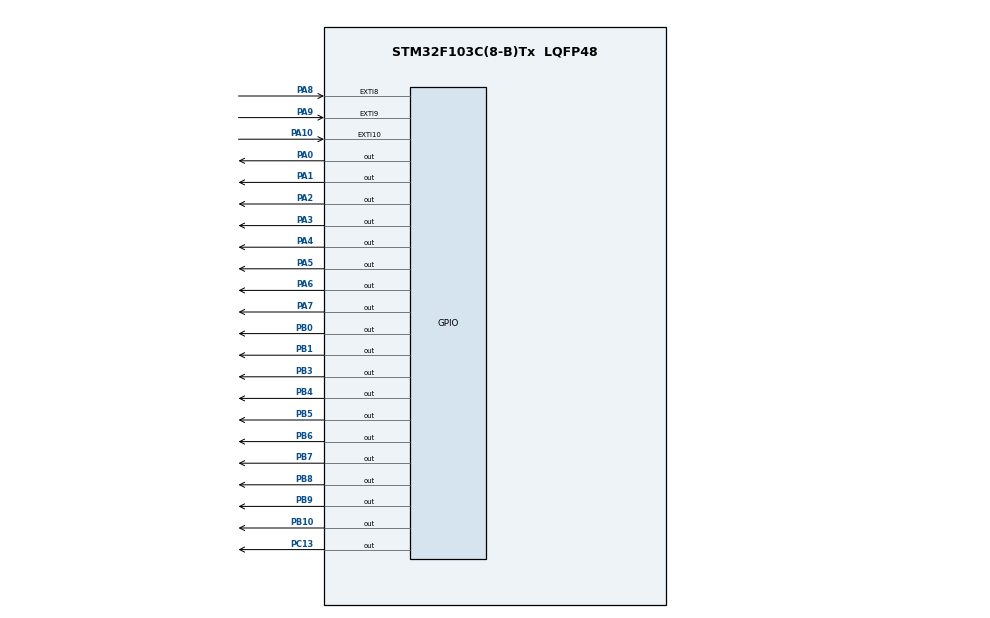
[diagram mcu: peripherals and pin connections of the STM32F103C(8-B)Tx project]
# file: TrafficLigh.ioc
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Mcu.Family=STM32F1
Mcu.Name=STM32F103C(8-B)Tx
Mcu.Package=LQFP48
NVIC.EXTI15_10_IRQn=true\:0\:0\:false\:false\:true\:true\:true\:true
NVIC.EXTI9_5_IRQn=true\:0\:0\:false\:false\:true\:true\:true\:true
NVIC.PriorityGroup=NVIC_PRIORITYGROUP_4
NVIC.TIM1_UP_IRQn=true\:0\:0\:false\:false\:true\:true\:true\:true
PA0-WKUP.Signal=GPIO_Output
PA1.Signal=GPIO_Output
PA10.GPIO_PuPd=GPIO_PULLUP
PA10.Signal=GPXTI10
PA13.Mode=Serial_Wire
PA13.Signal=SYS_JTMS-SWDIO
PA14.Mode=Serial_Wire
PA14.Signal=SYS_JTCK-SWCLK
PA2.Signal=GPIO_Output
PA3.Signal=GPIO_Output
PA4.Signal=GPIO_Output
PA5.Signal=GPIO_Output
PA6.Signal=GPIO_Output
PA7.Signal=GPIO_Output
PA8.GPIO_PuPd=GPIO_PULLUP
PA8.Signal=GPXTI8
PA9.GPIO_PuPd=GPIO_PULLUP
PA9.Signal=GPXTI9
PB0.Signal=GPIO_Output
PB1.Signal=GPIO_Output
PB10.Signal=GPIO_Output
PB3.Signal=GPIO_Output
PB4.Signal=GPIO_Output
PB5.Signal=GPIO_Output
PB6.Signal=GPIO_Output
PB7.Signal=GPIO_Output
PB8.Signal=GPIO_Output
PB9.Signal=GPIO_Output
PC13-TAMPER-RTC.Signal=GPIO_Output
ProjectManager.HeapSize=0x200
ProjectManager.StackSize=0x400
ProjectManager.TargetToolchain=MDK-ARM V5.32
RCC.APB1Freq_Value=8000000
RCC.APB2Freq_Value=8000000
TIM1.Period=100
TIM1.Prescaler=8000-1
VP_TIM1_VS_ClockSourceINT.Mode=Internal
board=custom

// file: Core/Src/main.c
/* USER CODE BEGIN Header */
/**
  ******************************************************************************
  * @file           : main.c
  * @brief          : Main program body
  ******************************************************************************
  * @attention
  *
  * Copyright (c) 2024 STMicroelectronics.
  * All rights reserved.
  *
  * This software is licensed under terms that can be found in the LICENSE file
  * in the root directory of this software component.
  * If no LICENSE file comes with this software, it is provided AS-IS.
  *
  ******************************************************************************
  */
/* USER CODE END Header */
#include "main.h"

/* USER CODE BEGIN Includes */
#include "Segment.h"
#include "TrafficLight.h"

/* USER CODE END Includes */

TIM_HandleTypeDef htim1;

/* USER CODE BEGIN PV */
unsigned int systemTimer1s,systemTimer100ms;
unsigned int userMode;
/* USER CODE END PV */

void SystemClock_Config(void);
static void MX_GPIO_Init(void);
static void MX_TIM1_Init(void);

/* USER CODE BEGIN 0 */
void HAL_TIM_PeriodElapsedCallback(TIM_HandleTypeDef *htim)
{
  systemTimer100ms++;
  if (userMode == USER_MODE_ADJUST)
  {

  }
  else
  {
    if ((systemTimer100ms%10) == 0)
    {
      systemTimer1s++;
    }
  }
}

int GetSystemTimer100ms(void)
{
  return systemTimer100ms;
}
int GetSystemTimer1s(void)
{
  return systemTimer1s;
}
void SetSystemTimer(int setValue)
{
  systemTimer1s = setValue;
}
void ReSetSystemTimer()
{
  systemTimer100ms = 0;
  systemTimer1s = 0;
}
void HAL_GPIO_EXTI_Callback(uint16_t GPIO_Pin)
{
    switch (GPIO_Pin)
    {
    case GPIO_PIN_8:
        SetKey(KEY_DOWN);
    break;
    case GPIO_PIN_9:
        SetKey(KEY_UP);
    break;
    case GPIO_PIN_10:
        SetKey(KEY_MODE);
    break;
    default:
    break;
    }
}

void mainInit()
{
  systemTimer100ms = 0;
  userMode = USER_MODE_NORMAL;
}

void SetUserMode(int mode)
{
  userMode = mode;
}

int GetUserMode(void)
{
  return  userMode;
}

void UserModeManager()
{
  switch (userMode)
  {
    case USER_MODE_NORMAL:

    break;

    default:
    break;
  };
}
/* USER CODE END 0 */

int main(void)
{

  /* MCU Configuration--------------------------------------------------------*/

  /* Reset of all peripherals, Initializes the Flash interface and the Systick. */
  HAL_Init();

  /* USER CODE BEGIN Init */
  SegmentInit();
  TrafficLightInit();

  /* USER CODE END Init */

  /* Configure the system clock */
  SystemClock_Config();

  /* Initialize all configured peripherals */
  MX_GPIO_Init();
  MX_TIM1_Init();
  /* USER CODE BEGIN 2 */
  HAL_TIM_Base_Start_IT(&htim1);
  /* USER CODE END 2 */

  /* Infinite loop */
  /* USER CODE BEGIN WHILE */
  while (1)
  {
#if defined(TEST_MODE)
    ButtonTest();
    TrafficLightManager();
    // SegmentTest();
    // TrafficLightTest();
#else
    KeyManager();
    TrafficLightManager();
    SegmentManager();
#endif
    /* USER CODE END WHILE */

  }
}

void SystemClock_Config(void)
{
  RCC_OscInitTypeDef RCC_OscInitStruct = {0};
  RCC_ClkInitTypeDef RCC_ClkInitStruct = {0};

  /** Initializes the RCC Oscillators according to the specified parameters
  * in the RCC_OscInitTypeDef structure.
  */
  RCC_OscInitStruct.OscillatorType = RCC_OSCILLATORTYPE_HSI;
  RCC_OscInitStruct.HSIState = RCC_HSI_ON;
  RCC_OscInitStruct.HSICalibrationValue = RCC_HSICALIBRATION_DEFAULT;
  RCC_OscInitStruct.PLL.PLLState = RCC_PLL_NONE;
  if (HAL_RCC_OscConfig(&RCC_OscInitStruct) != HAL_OK)
  {
    Error_Handler();
  }

  /** Initializes the CPU, AHB and APB buses clocks
  */
  RCC_ClkInitStruct.ClockType = RCC_CLOCKTYPE_HCLK|RCC_CLOCKTYPE_SYSCLK
                              |RCC_CLOCKTYPE_PCLK1|RCC_CLOCKTYPE_PCLK2;
  RCC_ClkInitStruct.SYSCLKSource = RCC_SYSCLKSOURCE_HSI;
  RCC_ClkInitStruct.AHBCLKDivider = RCC_SYSCLK_DIV1;
  RCC_ClkInitStruct.APB1CLKDivider = RCC_HCLK_DIV1;
  RCC_ClkInitStruct.APB2CLKDivider = RCC_HCLK_DIV1;

  if (HAL_RCC_ClockConfig(&RCC_ClkInitStruct, FLASH_LATENCY_0) != HAL_OK)
  {
    Error_Handler();
  }
}

static void MX_TIM1_Init(void)
{

  TIM_ClockConfigTypeDef sClockSourceConfig = {0};
  TIM_MasterConfigTypeDef sMasterConfig = {0};

  htim1.Instance = TIM1;
  htim1.Init.Prescaler = 8000-1;
  htim1.Init.CounterMode = TIM_COUNTERMODE_UP;
  htim1.Init.Period = 100;
  htim1.Init.ClockDivision = TIM_CLOCKDIVISION_DIV1;
  htim1.Init.RepetitionCounter = 0;
  htim1.Init.AutoReloadPreload = TIM_AUTORELOAD_PRELOAD_DISABLE;
  if (HAL_TIM_Base_Init(&htim1) != HAL_OK)
  {
    Error_Handler();
  }
  sClockSourceConfig.ClockSource = TIM_CLOCKSOURCE_INTERNAL;
  if (HAL_TIM_ConfigClockSource(&htim1, &sClockSourceConfig) != HAL_OK)
  {
    Error_Handler();
  }
  sMasterConfig.MasterOutputTrigger = TIM_TRGO_RESET;
  sMasterConfig.MasterSlaveMode = TIM_MASTERSLAVEMODE_DISABLE;
  if (HAL_TIMEx_MasterConfigSynchronization(&htim1, &sMasterConfig) != HAL_OK)
  {
    Error_Handler();
  }

}

static void MX_GPIO_Init(void)
{
  GPIO_InitTypeDef GPIO_InitStruct = {0};

  /* GPIO Ports Clock Enable */
  __HAL_RCC_GPIOC_CLK_ENABLE();
  __HAL_RCC_GPIOA_CLK_ENABLE();
  __HAL_RCC_GPIOB_CLK_ENABLE();

  /*Configure GPIO pin Output Level */
  HAL_GPIO_WritePin(GPIOC, GPIO_PIN_13, GPIO_PIN_RESET);

  /*Configure GPIO pin Output Level */
  HAL_GPIO_WritePin(GPIOA, GPIO_PIN_0|GPIO_PIN_1|GPIO_PIN_2|GPIO_PIN_3
                          |GPIO_PIN_4|GPIO_PIN_5|GPIO_PIN_6|GPIO_PIN_7, GPIO_PIN_RESET);

  /*Configure GPIO pin Output Level */
  HAL_GPIO_WritePin(GPIOB, GPIO_PIN_0|GPIO_PIN_1|GPIO_PIN_10|GPIO_PIN_3
                          |GPIO_PIN_4|GPIO_PIN_5|GPIO_PIN_6|GPIO_PIN_7
                          |GPIO_PIN_8|GPIO_PIN_9, GPIO_PIN_RESET);

  /*Configure GPIO pin : PC13 */
  GPIO_InitStruct.Pin = GPIO_PIN_13;
  GPIO_InitStruct.Mode = GPIO_MODE_OUTPUT_PP;
  GPIO_InitStruct.Pull = GPIO_NOPULL;
  GPIO_InitStruct.Speed = GPIO_SPEED_FREQ_LOW;
  HAL_GPIO_Init(GPIOC, &GPIO_InitStruct);

  /*Configure GPIO pins : PA0 PA1 PA2 PA3
                           PA4 PA5 PA6 PA7 */
  GPIO_InitStruct.Pin = GPIO_PIN_0|GPIO_PIN_1|GPIO_PIN_2|GPIO_PIN_3
                          |GPIO_PIN_4|GPIO_PIN_5|GPIO_PIN_6|GPIO_PIN_7;
  GPIO_InitStruct.Mode = GPIO_MODE_OUTPUT_PP;
  GPIO_InitStruct.Pull = GPIO_NOPULL;
  GPIO_InitStruct.Speed = GPIO_SPEED_FREQ_LOW;
  HAL_GPIO_Init(GPIOA, &GPIO_InitStruct);

  /*Configure GPIO pins : PB0 PB1 PB10 PB3
                           PB4 PB5 PB6 PB7
                           PB8 PB9 */
  GPIO_InitStruct.Pin = GPIO_PIN_0|GPIO_PIN_1|GPIO_PIN_10|GPIO_PIN_3
                          |GPIO_PIN_4|GPIO_PIN_5|GPIO_PIN_6|GPIO_PIN_7
                          |GPIO_PIN_8|GPIO_PIN_9;
  GPIO_InitStruct.Mode = GPIO_MODE_OUTPUT_PP;
  GPIO_InitStruct.Pull = GPIO_NOPULL;
  GPIO_InitStruct.Speed = GPIO_SPEED_FREQ_LOW;
  HAL_GPIO_Init(GPIOB, &GPIO_InitStruct);

  /*Configure GPIO pins : PA8 PA9 PA10 */
  GPIO_InitStruct.Pin = GPIO_PIN_8|GPIO_PIN_9|GPIO_PIN_10;
  GPIO_InitStruct.Mode = GPIO_MODE_IT_RISING;
  GPIO_InitStruct.Pull = GPIO_PULLUP;
  HAL_GPIO_Init(GPIOA, &GPIO_InitStruct);

  /* EXTI interrupt init*/
  HAL_NVIC_SetPriority(EXTI9_5_IRQn, 0, 0);
  HAL_NVIC_EnableIRQ(EXTI9_5_IRQn);

  HAL_NVIC_SetPriority(EXTI15_10_IRQn, 0, 0);
  HAL_NVIC_EnableIRQ(EXTI15_10_IRQn);

}

void Error_Handler(void)
{
  __disable_irq();
  while (1)
  {
  }
}
